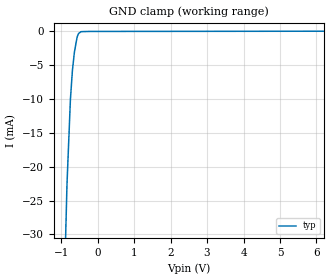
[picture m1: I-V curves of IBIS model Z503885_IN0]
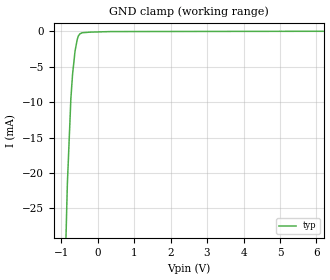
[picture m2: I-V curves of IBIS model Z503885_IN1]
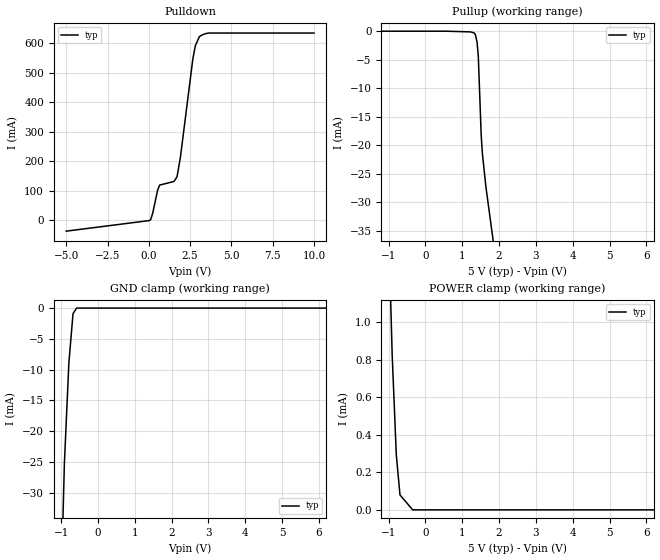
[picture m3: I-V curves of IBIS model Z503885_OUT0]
| YOU ARE ONLY AUTHORIZED TO USE THIS SOFTWARE
| ACCORDING TO LICENSOR'S LICENSE RESTRICTIONS.
[IBIS Ver] 3.1
[File Name] mc10h645fn.ibs
[File Rev] 2.0
[Source] Measured and created by ICX Technology
[Date] Friday 7/14/00 9:07:50 AM
[Copyright]
| (C) COPYRIGHT 1993-2000
| MENTOR GRAPHICS CORPORATION
| ICX STANDARD LIBRARY, ICX PROJECT MODELING,
| ICX CUSTOM MODELING, ICX VENDOR MODEL
| ALL RIGHTS RESERVED.
| THE FOLLOWING ARE TRADEMARKS OR SERVICE MARKS OF
| MENTOR GRAPHICS CORPORATION:ICX (R), ICX STANDARD
| LIBRARY(R), ICX PROJECT MODELING(R), ICX CUSTOM
| MODELING(R), qualityIBIS(TM), MODELVIEWER(TM),
| AND MODELEDITOR(TM)
| ALL COPIES OF SOFTWARE, INCLUDING BUT NOT LIMITED TO
| ANY MODIFICATIONS, ENHANCEMENTS OR DERIVATIVE WORKS,
| MUST CONTAIN ALL MENTOR GRAPHICS CORPORATION'S
| NOTICES AND LEGENDS, INCLUDING THOSE EMBEDDED IN
| SOFTWARE AND THOSE AFFIXED TO SOFTWARE MEDIUM
| AND CONTAINER, AS RECEIVED FROM MENTOR GRAPHICS
| CORPORATION.
|  ZAP Model Builder 2.7
[Component] MC10H645FN
[Manufacturer] OnSemiconductor
[Package]
| variable   typ   min   max
R_pkg  .083ohms NA NA
L_pkg  4.299nH NA NA
C_pkg  1.045pF NA NA
[Pin] signal_name  model_name  R_pin  L_pin C_pin
1 Q4 Z503885_OUT0 .08 3.94n .925p
2 VCC POWER .082 4.14n .995p
3 Q3 Z503885_OUT0 .084 4.354n 1.065p
4 GROUND GND .086 4.583n 1.135p
5 GROUND GND .086 4.583n 1.135p
6 Q2 Z503885_OUT0 .084 4.354n 1.065p
7 VCC POWER .082 4.14n .995p
8 Q1 Z503885_OUT0 .08 3.94n .925p
9 VCC POWER .082 4.14n .995p
10 Q0 Z503885_OUT0 .084 4.354n 1.065p
11 GROUND GND .086 4.583n 1.135p
12 NC NC .086 4.583n 1.135p
13 GROUND GND .084 4.354n 1.065p
14 SEL Z503885_IN0 .082 4.14n .995p
15 VCC POWER .08 3.94n .925p
16 D1 Z503885_IN1 .082 4.14n .995p
17 D0 Z503885_IN1 .084 4.354n 1.065p
18 NC NC .086 4.583n 1.135p
19 GROUND GND .086 4.583n 1.135p
20 Q8 Z503885_OUT0 .084 4.354n 1.065p
21 VCC POWER .082 4.14n .995p
22 Q7 Z503885_OUT0 .08 3.94n .925p
23 VCC POWER .082 4.14n .995p
24 Q6 Z503885_OUT0 .084 4.354n 1.065p
25 GROUND GND .086 4.583n 1.135p
26 GROUND GND .086 4.583n 1.135p
27 Q5 Z503885_OUT0 .084 4.354n 1.065p
28 VCC POWER .082 4.14n .995p
| Models and submodels in the file (3): Z503885_IN0 (Input), Z503885_IN1 (Input), Z503885_OUT0 (Output)
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| (C) COPYRIGHT 1993-2000
| MENTOR GRAPHICS CORPORATION
| ICX STANDARD LIBRARY, ICX PROJECT MODELING,
| ICX CUSTOM MODELING, ICX VENDOR MODEL
| ALL RIGHTS RESERVED.
| THE FOLLOWING ARE TRADEMARKS OR SERVICE MARKS OF
| MENTOR GRAPHICS CORPORATION:ICX (R), ICX STANDARD
| LIBRARY(R), ICX PROJECT MODELING(R), ICX CUSTOM
| MODELING(R), qualityIBIS(TM), MODELVIEWER(TM),
| AND MODELEDITOR(TM)
| ALL COPIES OF SOFTWARE, INCLUDING BUT NOT LIMITED TO
| ANY MODIFICATIONS, ENHANCEMENTS OR DERIVATIVE WORKS,
| MUST CONTAIN ALL MENTOR GRAPHICS CORPORATION'S
| NOTICES AND LEGENDS, INCLUDING THOSE EMBEDDED IN
| SOFTWARE AND THOSE AFFIXED TO SOFTWARE MEDIUM
| AND CONTAINER, AS RECEIVED FROM MENTOR GRAPHICS
| CORPORATION.
| Model Application Version 1.89 2/18/99.
[Model] Z503885_IN0
Model_type Input
Vinl = 3.525V
Vinh = 3.835V
C_comp 4.000pF NA NA
| variable typ   min   max
[Voltage Range] 5.000V NA NA
[GND Clamp Reference] 0.000V NA NA
[POWER Clamp Reference] 5.000V NA NA
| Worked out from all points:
|   GND clamp passes 1 mA (typ) near -0.57 V on its own axis
[GND Clamp]
-5V       -890mA     NA         NA
-839mV    -22.57mA   NA         NA
-745.2mV  -10.05mA   NA         NA
-690.8mV  -5.809mA   NA         NA
-634.8mV  -3.039mA   NA         NA
-561.4mV  -857.1uA   NA         NA
-527.3mV  -388uA     NA         NA
-503mV    -242.3uA   NA         NA
-448.5mV  -52.36uA   NA         NA
-224.3mV  -20.47uA   NA         NA
10V       32.32uA    NA         NA
[POWER Clamp]
-5V       0A         NA         NA
10V       0A         NA         NA
| (C) COPYRIGHT 1993-2000
| MENTOR GRAPHICS CORPORATION
| ICX STANDARD LIBRARY, ICX PROJECT MODELING,
| ICX CUSTOM MODELING, ICX VENDOR MODEL
| ALL RIGHTS RESERVED.
| THE FOLLOWING ARE TRADEMARKS OR SERVICE MARKS OF
| MENTOR GRAPHICS CORPORATION:ICX (R), ICX STANDARD
| LIBRARY(R), ICX PROJECT MODELING(R), ICX CUSTOM
| MODELING(R), qualityIBIS(TM), MODELVIEWER(TM),
| AND MODELEDITOR(TM)
| ALL COPIES OF SOFTWARE, INCLUDING BUT NOT LIMITED TO
| ANY MODIFICATIONS, ENHANCEMENTS OR DERIVATIVE WORKS,
| MUST CONTAIN ALL MENTOR GRAPHICS CORPORATION'S
| NOTICES AND LEGENDS, INCLUDING THOSE EMBEDDED IN
| SOFTWARE AND THOSE AFFIXED TO SOFTWARE MEDIUM
| AND CONTAINER, AS RECEIVED FROM MENTOR GRAPHICS
| CORPORATION.
| Model Application Version 1.89 2/18/99.
[Model] Z503885_IN1
Model_type Input
Vinl = 3.525V
Vinh = 3.835V
C_comp 4.000pF NA NA
| variable typ   min   max
[Voltage Range] 5.000V NA NA
[GND Clamp Reference] 0.000V NA NA
[POWER Clamp Reference] 5.000V NA NA
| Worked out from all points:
|   GND clamp passes 1 mA (typ) near -0.55 V on its own axis
[GND Clamp]
-5V       -851.6mA   NA         NA
-829mV    -21.59mA   NA         NA
-732.4mV  -9.481mA   NA         NA
-687.5mV  -6.154mA   NA         NA
-618.8mV  -2.808mA   NA         NA
-557.4mV  -1.125mA   NA         NA
-524.9mV  -625.1uA   NA         NA
-483.3mV  -346.9uA   NA         NA
-425.4mV  -202.3uA   NA         NA
-212.7mV  -111.5uA   NA         NA
371.1mV   -31.8uA    NA         NA
10V       38.26uA    NA         NA
[POWER Clamp]
-5V       0A         NA         NA
10V       0A         NA         NA
| (C) COPYRIGHT 1993-2000
| MENTOR GRAPHICS CORPORATION
| ICX STANDARD LIBRARY, ICX PROJECT MODELING,
| ICX CUSTOM MODELING, ICX VENDOR MODEL
| ALL RIGHTS RESERVED.
| THE FOLLOWING ARE TRADEMARKS OR SERVICE MARKS OF
| MENTOR GRAPHICS CORPORATION:ICX (R), ICX STANDARD
| LIBRARY(R), ICX PROJECT MODELING(R), ICX CUSTOM
| MODELING(R), qualityIBIS(TM), MODELVIEWER(TM),
| AND MODELEDITOR(TM)
| ALL COPIES OF SOFTWARE, INCLUDING BUT NOT LIMITED TO
| ANY MODIFICATIONS, ENHANCEMENTS OR DERIVATIVE WORKS,
| MUST CONTAIN ALL MENTOR GRAPHICS CORPORATION'S
| NOTICES AND LEGENDS, INCLUDING THOSE EMBEDDED IN
| SOFTWARE AND THOSE AFFIXED TO SOFTWARE MEDIUM
| AND CONTAINER, AS RECEIVED FROM MENTOR GRAPHICS
| CORPORATION.
| Model Application Version 1.89 2/18/99.
[Model] Z503885_OUT0
Model_type Output
Vref=0.000V
Rref=500.0Mohms
Cref=50.00pF
Vmeas=1.500V
C_comp 8.000pF NA NA
| variable typ   min   max
[Voltage Range] 5.000V NA NA
[POWER Clamp Reference] 5.000V NA NA
[Pullup Reference] 5.000V NA NA
[Pulldown Reference] 0.000V NA NA
[GND Clamp Reference] 0.000V NA NA
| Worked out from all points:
|   slope of the pulldown table from 0 to 0.75 V, typ, clamps not added: 6.16 ohm
|   slope of the pullup table from 0 to 0.75 V, typ, clamps not added: 21.9 kohm
|   GND clamp passes 1 mA (typ) near -0.68 V on its own axis
|   POWER clamp passes 1 mA (typ) near -0.93 V on its own axis
[GND Clamp]
-5V       -1.827A    NA         NA
-1.171V   -95.71mA   NA         NA
-1.072V   -61.58mA   NA         NA
-913mV    -25.24mA   NA         NA
-790.9mV  -8.868mA   NA         NA
-678.6mV  -903.4uA   NA         NA
-581.7mV  0A         NA         NA
10V       0A         NA         NA
[Pulldown]
-5V       -37.25mA   NA         NA
127.4mV   3.485mA    NA         NA
537.1mV   102.2mA    NA         NA
659.4mV   118.8mA    NA         NA
1.523V    131.1mA    NA         NA
1.709V    146.8mA    NA         NA
1.914V    213.1mA    NA         NA
2.668V    546.6mA    NA         NA
2.819V    591.3mA    NA         NA
3.069V    622.2mA    NA         NA
3.675V    634mA      NA         NA
10V       634mA      NA         NA
[Pullup]
-5V       16.43uA    NA         NA
565mV     16.43uA    NA         NA
1.221V    -105.1uA   NA         NA
1.321V    -275.5uA   NA         NA
1.357V    -598.3uA   NA         NA
1.402V    -1.892mA   NA         NA
1.436V    -4.359mA   NA         NA
1.514V    -18.15mA   NA         NA
1.545V    -21.33mA   NA         NA
1.641V    -27.24mA   NA         NA
10V       -427.3mA   NA         NA
[POWER Clamp]
-5V       36.35mA    NA         NA
-1.054V   1.905mA    NA         NA
-903mV    828.4uA    NA         NA
-791mV    295uA      NA         NA
-691mV    79.74uA    NA         NA
-345.5mV  0A         NA         NA
10V       0A         NA         NA
[Ramp]
| variable typ min max
dV/dt_r 2.085/2.448n NA NA
dV/dt_f 2.085/970.8p NA NA
R_load = 500.0Ohms
